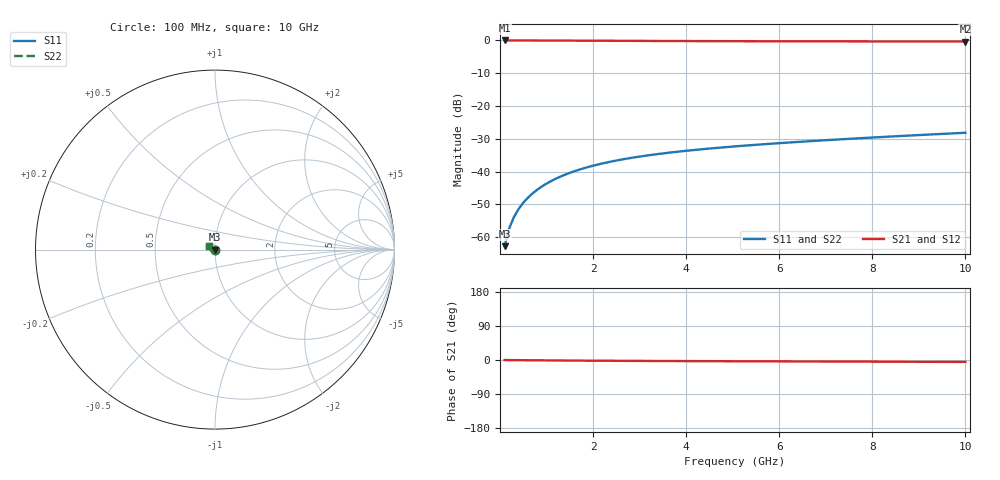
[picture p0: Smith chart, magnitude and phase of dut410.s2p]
! Touchstone file exported from HFSS 2024.1.0
!  File:  C:/UserFiles/LocalFiles/RDL_TSV_Batchsim/temp_TSV1_410_1779692361.aedt
!  Generated:  03:04:07 PM May 25, 2026
!  Design:  TSV1
!  Project:  temp_TSV1_410_1779692361
!  Setup:  Setup1
!  Solution:  Sweep
! Variables:
!  dtsv = 6.87um
!  hbump = 3um
!  htsv = 73.57um
!  lrdl = 252.1521522um
!  p = 40
!  p1 = 55.82um
!  t = 500um
!  trdl = 3um
!  wrdl = 24.89489489um
# GHz S MA R 50.000000
! Terminal data exported
! Port[1] = TSV22_T1
! Port[2] = TSV22_T2
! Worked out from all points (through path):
!   100 points, 100 MHz to 10 GHz, reference 50 ohm
!   highest |S21| = 0.00 dB at 100 MHz (marker M1); lowest = -0.3 dB at 10 GHz (marker M2)
!   lowest |S11| = -62.8 dB at 100 MHz (marker M3), VSWR 1.00, Z = 50 - j0.0679 ohm
!   |S11| at or under -10 dB: start of sweep to end of sweep
!   |S22| runs from -62.8 to -28.2 dB; largest |S21 - S12| = 1.5e-15
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0.1  0.0007262 -69.0  0.9997 -0.1  0.9997 -0.1  0.0007262 -69.0
! Gamma 0 0 0 0
! Port Impedance 50 0 50 0
0.2  0.001363 -82.6  0.9996 -0.2  0.9996 -0.2  0.001363 -82.6
0.3  0.002018 -89.0  0.9994 -0.3  0.9994 -0.3  0.002018 -89.0
0.4  0.002675 -93.4  0.9992 -0.4  0.9992 -0.4  0.002675 -93.4
0.5  0.003331 -97.0  0.999 -0.5  0.999 -0.5  0.003331 -97.0
0.6  0.003984 -100.2  0.9987 -0.6  0.9987 -0.6  0.003984 -100.2
0.7  0.004633 -103.1  0.9983 -0.7  0.9983 -0.7  0.004633 -103.1
0.8  0.005275 -105.8  0.9979 -0.8  0.9979 -0.8  0.005275 -105.8
0.9  0.005911 -108.4  0.9974 -0.9  0.9974 -0.9  0.005911 -108.4
1.1  0.007159 -113.3  0.9964 -1.1  0.9964 -1.1  0.007159 -113.3
1.4  0.008959 -120.3  0.9947 -1.4  0.9947 -1.4  0.008959 -120.3
1.6  0.01011 -124.6  0.9935 -1.5  0.9935 -1.5  0.01011 -124.6
1.8  0.01121 -128.8  0.9922 -1.7  0.9922 -1.7  0.01121 -128.8
2.1  0.01277 -134.8  0.9902 -1.9  0.9902 -1.9  0.01277 -134.8
2.5  0.01471 -142.3  0.9875 -2.1  0.9875 -2.1  0.01471 -142.3
2.9  0.01648 -149.3  0.9849 -2.4  0.9849 -2.4  0.01648 -149.3
3.4  0.0185 -157.2  0.9819 -2.6  0.9819 -2.6  0.0185 -157.2
4.2  0.0214 -168.4  0.9777 -3.0  0.9777 -3.0  0.0214 -168.4
5.1  0.02433 -179.1  0.974 -3.3  0.974 -3.3  0.02433 -179.1
6.7  0.02917 165.7  0.9693 -3.9  0.9693 -3.9  0.02917 165.7
8.4  0.0342 153.4  0.966 -4.5  0.966 -4.5  0.0342 153.4
10  0.03903 144.4  0.9637 -5.1  0.9637 -5.1  0.03903 144.4
